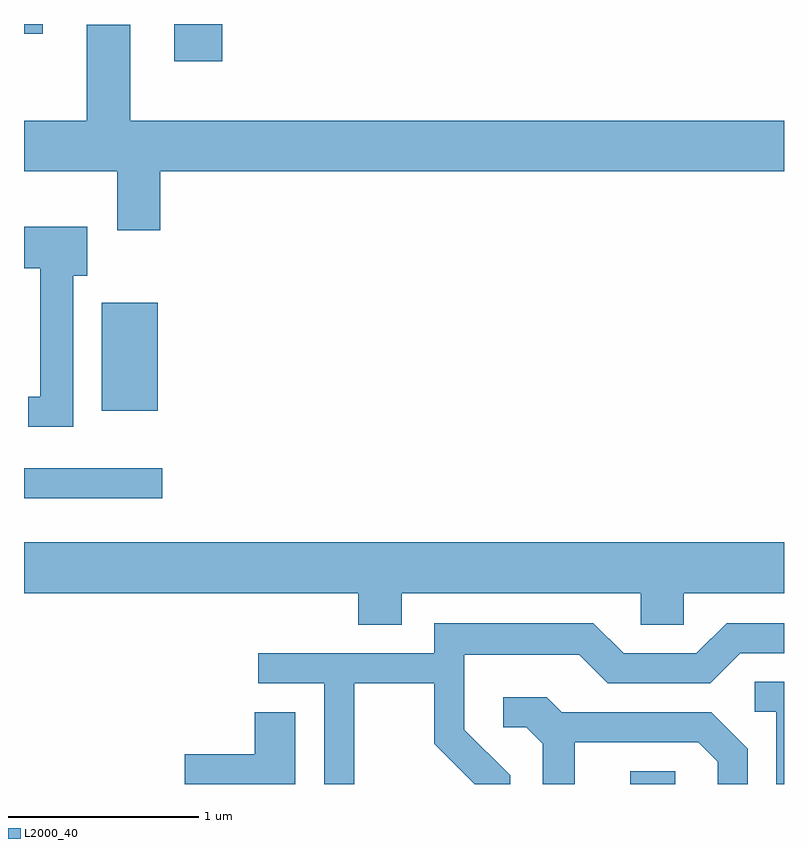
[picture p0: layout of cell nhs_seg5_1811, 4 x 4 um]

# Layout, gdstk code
import gdstk
lib = gdstk.Library(unit=1e-6, precision=1e-09)
def R(c, l, rs):  # rectangles x0, y0, x1, y1
    for r in rs: c.add(gdstk.rectangle(r[:2], r[2:], *l))
def P(c, l, *ps):  # polygons
    for p in ps: c.add(gdstk.Polygon(p, *l))
L2000_40 = (2000, 40)

nhs_seg5_1811 = lib.new_cell('nhs_seg5_1811')
R(nhs_seg5_1811, L2000_40, [(242.801,1398.072,243.039,1398.139), (239.611,1399.576,240.338,1399.734), (240.021,1400.036,240.314,1400.604), (240.401,1401.876,240.654,1402.072), (239.611,1402.021,239.709,1402.072)])
P(nhs_seg5_1811, L2000_40, [(240.329,1401.296),(243.611,1401.296),(243.611,1401.564),(240.169,1401.564),(240.169,1402.069),(239.941,1402.069),(239.941,1401.564),(239.611,1401.564),(239.611,1401.296),(240.101,1401.296),(240.101,1400.986),(240.329,1400.986)],
  [(239.869,1400.746),(239.944,1400.746),(239.944,1401.004),(239.611,1401.004),(239.611,1400.786),(239.696,1400.786),(239.696,1400.109),(239.633,1400.109),(239.633,1399.951),(239.869,1399.951)],
  [(241.599,1399.076),(242.856,1399.076),(242.856,1398.911),(243.084,1398.911),(243.084,1399.076),(243.611,1399.076),(243.611,1399.344),(239.611,1399.344),(239.611,1399.076),(241.371,1399.076),(241.371,1398.911),(241.599,1398.911)],
  [(241.349,1398.601),(241.771,1398.601),(241.771,1398.284),(241.983,1398.072),(242.169,1398.072),(242.169,1398.117),(241.929,1398.357),(241.929,1398.751),(242.534,1398.751),(242.684,1398.601),(243.222,1398.601),(243.382,1398.761),(243.611,1398.761),(243.611,1398.919),(243.309,1398.919),(243.149,1398.759),(242.767,1398.759),(242.607,1398.919),(241.771,1398.919),(241.771,1398.759),(240.843,1398.759),(240.843,1398.601),(241.191,1398.601),(241.191,1398.072),(241.349,1398.072)],
  [(243.611,1398.609),(243.458,1398.609),(243.458,1398.451),(243.571,1398.451),(243.571,1398.072),(243.611,1398.072)],
  [(242.509,1398.291),(243.159,1398.291),(243.261,1398.189),(243.261,1398.072),(243.419,1398.072),(243.419,1398.257),(243.227,1398.449),(242.442,1398.449),(242.362,1398.529),(242.133,1398.529),(242.133,1398.371),(242.254,1398.371),(242.341,1398.284),(242.341,1398.072),(242.509,1398.072)],
  [(241.039,1398.449),(240.826,1398.449),(240.826,1398.229),(240.456,1398.229),(240.456,1398.072),(241.039,1398.072)])

lib.write_gds('nhs_seg5_1811.gds')
